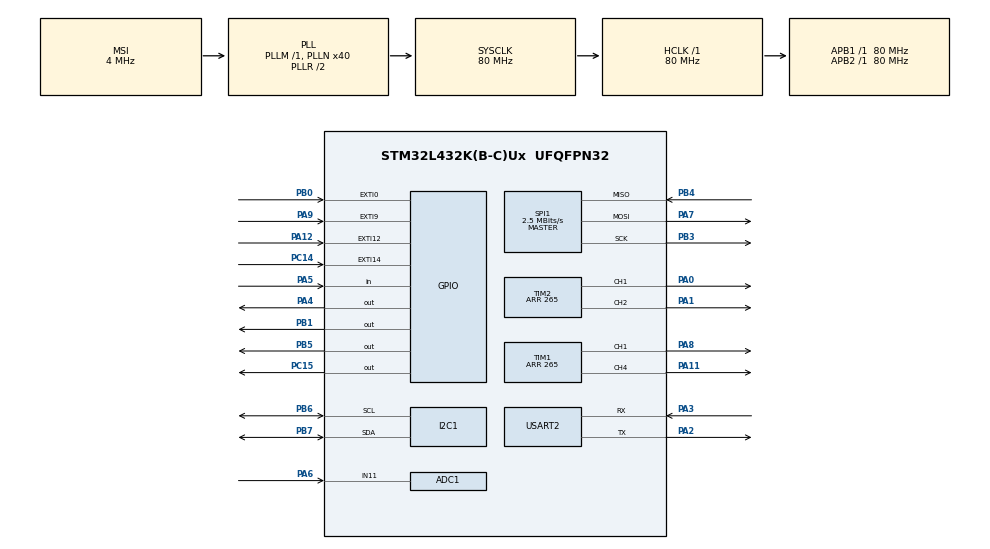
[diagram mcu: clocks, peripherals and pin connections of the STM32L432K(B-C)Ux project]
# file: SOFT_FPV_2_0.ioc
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ADC1.Channel-0\#ChannelRegularConversion=ADC_CHANNEL_11
ADC1.NbrOfConversionFlag=1
ADC1.OffsetNumber-0\#ChannelRegularConversion=ADC_OFFSET_NONE
ADC1.Rank-0\#ChannelRegularConversion=1
ADC1.SamplingTime-0\#ChannelRegularConversion=ADC_SAMPLETIME_2CYCLES_5
ADC1.master=1
Dma.I2C1_RX.5.Direction=DMA_PERIPH_TO_MEMORY
Dma.I2C1_RX.5.Instance=DMA2_Channel6
Dma.I2C1_RX.5.MemDataAlignment=DMA_MDATAALIGN_BYTE
Dma.I2C1_RX.5.MemInc=DMA_MINC_ENABLE
Dma.I2C1_RX.5.Mode=DMA_NORMAL
Dma.I2C1_RX.5.PeriphDataAlignment=DMA_PDATAALIGN_BYTE
Dma.I2C1_RX.5.PeriphInc=DMA_PINC_DISABLE
Dma.I2C1_RX.5.Priority=DMA_PRIORITY_HIGH
Dma.Request0=USART2_RX
Dma.Request1=TIM2_CH2/CH4
Dma.Request2=TIM2_CH1
Dma.Request3=TIM1_CH1
Dma.Request4=TIM1_CH4/TRIG/COM
Dma.Request5=I2C1_RX
Dma.TIM1_CH1.3.Direction=DMA_MEMORY_TO_PERIPH
Dma.TIM1_CH1.3.Instance=DMA1_Channel2
Dma.TIM1_CH1.3.MemDataAlignment=DMA_MDATAALIGN_HALFWORD
Dma.TIM1_CH1.3.MemInc=DMA_MINC_ENABLE
Dma.TIM1_CH1.3.Mode=DMA_NORMAL
Dma.TIM1_CH1.3.PeriphDataAlignment=DMA_PDATAALIGN_HALFWORD
Dma.TIM1_CH1.3.PeriphInc=DMA_PINC_DISABLE
Dma.TIM1_CH1.3.Priority=DMA_PRIORITY_LOW
Dma.TIM1_CH4/TRIG/COM.4.Direction=DMA_MEMORY_TO_PERIPH
Dma.TIM1_CH4/TRIG/COM.4.Instance=DMA1_Channel4
Dma.TIM1_CH4/TRIG/COM.4.MemDataAlignment=DMA_MDATAALIGN_WORD
Dma.TIM1_CH4/TRIG/COM.4.MemInc=DMA_MINC_ENABLE
Dma.TIM1_CH4/TRIG/COM.4.Mode=DMA_NORMAL
Dma.TIM1_CH4/TRIG/COM.4.PeriphDataAlignment=DMA_PDATAALIGN_WORD
Dma.TIM1_CH4/TRIG/COM.4.PeriphInc=DMA_PINC_DISABLE
Dma.TIM1_CH4/TRIG/COM.4.Priority=DMA_PRIORITY_LOW
Dma.TIM2_CH1.2.Direction=DMA_MEMORY_TO_PERIPH
Dma.TIM2_CH1.2.Instance=DMA1_Channel5
Dma.TIM2_CH1.2.MemDataAlignment=DMA_MDATAALIGN_HALFWORD
Dma.TIM2_CH1.2.MemInc=DMA_MINC_ENABLE
Dma.TIM2_CH1.2.Mode=DMA_NORMAL
Dma.TIM2_CH1.2.PeriphDataAlignment=DMA_PDATAALIGN_HALFWORD
Dma.TIM2_CH1.2.PeriphInc=DMA_PINC_DISABLE
Dma.TIM2_CH1.2.Priority=DMA_PRIORITY_LOW
Dma.TIM2_CH2/CH4.1.Direction=DMA_MEMORY_TO_PERIPH
Dma.TIM2_CH2/CH4.1.Instance=DMA1_Channel7
Dma.TIM2_CH2/CH4.1.MemDataAlignment=DMA_MDATAALIGN_WORD
Dma.TIM2_CH2/CH4.1.MemInc=DMA_MINC_ENABLE
Dma.TIM2_CH2/CH4.1.Mode=DMA_NORMAL
Dma.TIM2_CH2/CH4.1.PeriphDataAlignment=DMA_PDATAALIGN_WORD
Dma.TIM2_CH2/CH4.1.PeriphInc=DMA_PINC_DISABLE
Dma.TIM2_CH2/CH4.1.Priority=DMA_PRIORITY_LOW
Dma.USART2_RX.0.Direction=DMA_PERIPH_TO_MEMORY
Dma.USART2_RX.0.Instance=DMA1_Channel6
Dma.USART2_RX.0.MemDataAlignment=DMA_MDATAALIGN_BYTE
Dma.USART2_RX.0.MemInc=DMA_MINC_ENABLE
Dma.USART2_RX.0.Mode=DMA_CIRCULAR
Dma.USART2_RX.0.PeriphDataAlignment=DMA_PDATAALIGN_HALFWORD
Dma.USART2_RX.0.PeriphInc=DMA_PINC_DISABLE
Dma.USART2_RX.0.Priority=DMA_PRIORITY_LOW
I2C1.I2C_Coeff_DF=8
I2C1.Timing=0x10D098E0
Mcu.Family=STM32L4
Mcu.Name=STM32L432K(B-C)Ux
Mcu.Package=UFQFPN32
NVIC.DMA1_Channel2_IRQn=true\:0\:0\:false\:false\:true\:false\:true\:true
NVIC.DMA1_Channel4_IRQn=true\:0\:0\:false\:false\:true\:false\:true\:true
NVIC.DMA1_Channel5_IRQn=true\:0\:0\:false\:false\:true\:false\:true\:true
NVIC.DMA1_Channel6_IRQn=true\:0\:0\:false\:false\:true\:false\:true\:true
NVIC.DMA1_Channel7_IRQn=true\:0\:0\:false\:false\:true\:false\:true\:true
NVIC.DMA2_Channel6_IRQn=true\:0\:0\:false\:false\:true\:false\:true\:true
NVIC.EXTI0_IRQn=true\:2\:0\:true\:false\:true\:true\:true\:true
NVIC.I2C1_ER_IRQn=true\:0\:0\:false\:false\:true\:true\:true\:true
NVIC.I2C1_EV_IRQn=true\:0\:0\:false\:false\:true\:true\:true\:true
NVIC.PVD_PVM_IRQn=true\:0\:0\:false\:false\:true\:true\:true\:true
NVIC.PriorityGroup=NVIC_PRIORITYGROUP_4
NVIC.RCC_IRQn=true\:2\:0\:true\:false\:true\:true\:false\:true
NVIC.TIM1_BRK_TIM15_IRQn=true\:15\:0\:true\:false\:true\:true\:true\:true
PA0.GPIO_Speed=GPIO_SPEED_FREQ_VERY_HIGH
PA0.Signal=S_TIM2_CH1
PA1.GPIO_Speed=GPIO_SPEED_FREQ_VERY_HIGH
PA1.Signal=S_TIM2_CH2
PA11.GPIO_Speed=GPIO_SPEED_FREQ_VERY_HIGH
PA11.Signal=S_TIM1_CH4
PA12.Signal=GPXTI12
PA13\ (JTMS-SWDIO).Mode=Serial_Wire
PA13\ (JTMS-SWDIO).Signal=SYS_JTMS-SWDIO
PA14\ (JTCK-SWCLK).Mode=Serial_Wire
PA14\ (JTCK-SWCLK).Signal=SYS_JTCK-SWCLK
PA2.Mode=Asynchronous
PA2.Signal=USART2_TX
PA3.Mode=Asynchronous
PA3.Signal=USART2_RX
PA4.GPIO_Speed=GPIO_SPEED_FREQ_VERY_HIGH
PA4.PinState=GPIO_PIN_SET
PA4.Signal=GPIO_Output
PA5.Signal=GPIO_Input
PA6.Signal=ADCx_IN11
PA7.Mode=Full_Duplex_Master
PA7.Signal=SPI1_MOSI
PA8.GPIO_Speed=GPIO_SPEED_FREQ_VERY_HIGH
PA8.Signal=S_TIM1_CH1
PA9.Signal=GPXTI9
PB0.Signal=GPXTI0
PB1.Signal=GPIO_Output
PB3\ (JTDO-TRACESWO).Mode=Full_Duplex_Master
PB3\ (JTDO-TRACESWO).Signal=SPI1_SCK
PB4\ (NJTRST).Mode=Full_Duplex_Master
PB4\ (NJTRST).Signal=SPI1_MISO
PB5.PinState=GPIO_PIN_SET
PB5.Signal=GPIO_Output
PB6.GPIO_Pu=GPIO_PULLUP
PB6.Mode=I2C
PB6.Signal=I2C1_SCL
PB7.GPIO_Pu=GPIO_PULLUP
PB7.Mode=I2C
PB7.Signal=I2C1_SDA
PC14-OSC32_IN\ (PC14).Signal=GPXTI14
PC15-OSC32_OUT\ (PC15).PinState=GPIO_PIN_SET
PC15-OSC32_OUT\ (PC15).Signal=GPIO_Output
ProjectManager.HeapSize=0x200
ProjectManager.StackSize=0x400
ProjectManager.TargetToolchain=STM32CubeIDE
RCC.ADCFreq_Value=32000000
RCC.AHBFreq_Value=80000000
RCC.APB1Freq_Value=80000000
RCC.APB1TimFreq_Value=80000000
RCC.APB2Freq_Value=80000000
RCC.APB2TimFreq_Value=80000000
RCC.CortexFreq_Value=80000000
RCC.HCLKFreq_Value=80000000
RCC.HSE_VALUE=8000000
RCC.HSI48_VALUE=48000000
RCC.HSI_VALUE=16000000
RCC.LSE_VALUE=32768
RCC.MSI_VALUE=4000000
RCC.PLLN=40
RCC.PLLSAI1N=16
RCC.SYSCLKFreq_VALUE=80000000
RCC.SYSCLKSource=RCC_SYSCLKSOURCE_PLLCLK
RCC.USBFreq_Value=32000000
RCC.VCOOutputFreq_Value=160000000
SH.ADCx_IN11.0=ADC1_IN11,IN11-Single-Ended
SH.S_TIM1_CH1.0=TIM1_CH1,PWM Generation1 CH1
SH.S_TIM1_CH4.0=TIM1_CH4,PWM Generation4 CH4
SH.S_TIM2_CH1.0=TIM2_CH1,PWM Generation1 CH1
SH.S_TIM2_CH2.0=TIM2_CH2,PWM Generation2 CH2
SPI1.BaudRatePrescaler=SPI_BAUDRATEPRESCALER_32
SPI1.CalculateBaudRate=2.5 MBits/s
SPI1.DataSize=SPI_DATASIZE_8BIT
SPI1.Direction=SPI_DIRECTION_2LINES
SPI1.Mode=SPI_MODE_MASTER
SPI1.VirtualType=VM_MASTER
TIM1.AutoReloadPreload=TIM_AUTORELOAD_PRELOAD_ENABLE
TIM1.Channel-PWM\ Generation1\ CH1=TIM_CHANNEL_1
TIM1.Channel-PWM\ Generation4\ CH4=TIM_CHANNEL_4
TIM1.Period=265
TIM2.AutoReloadPreload=TIM_AUTORELOAD_PRELOAD_ENABLE
TIM2.Channel-PWM\ Generation1\ CH1=TIM_CHANNEL_1
TIM2.Channel-PWM\ Generation2\ CH2=TIM_CHANNEL_2
TIM2.Period=265
USART2.VirtualMode-Asynchronous=VM_ASYNC
VP_TIM1_VS_ClockSourceINT.Mode=Internal
VP_TIM2_VS_ClockSourceINT.Mode=Internal
VP_TIM6_VS_ClockSourceINT.Mode=Enable_Timer
board=custom

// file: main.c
/* USER CODE BEGIN Header */
/**
  ******************************************************************************
  * @file           : main.c
  * @brief          : Main program body
  ******************************************************************************
  */
/* USER CODE END Header */
#include "main.h"
#include "adc.h"
#include "dma.h"
#include "i2c.h"
#include "spi.h"
#include "tim.h"
#include "usart.h"
#include "gpio.h"

/* USER CODE BEGIN Includes */
#include "FCS.h"
#include <string.h>
#include "lora.h"
#include "sensors.h"
#include "fcs_app.h"
#include "vbat.h"
/* USER CODE END Includes */

/* USER CODE BEGIN PV */
volatile uint8_t dbg_rx_frame[16] = {0};
volatile uint8_t dbg_raw_len = 0;
volatile uint8_t dbg_pkt_crc = 0;
volatile uint8_t dbg_calc_crc = 0;
volatile uint8_t flag_process_5ms = 0;
volatile uint32_t counter = 0;
volatile uint8_t lora_frame_ready = 0;
volatile uint8_t lora_hardware_ok = 0;
volatile uint32_t diag_i2c_error = 0;
volatile uint8_t diag_init_result = 0;
volatile uint8_t diag_scanner_found[5] = {0};
volatile uint8_t diag_scanner_count = 0;
LoRa_ControlPacket_t rx_packet;
uint16_t value = 0;			            // throttle value to be sent
uint16_t ctr = 0;						// arming sequence counter
uint8_t trottle_down=0;					// dunnot change trottle up.
uint8_t armed = 0;
uint32_t motor[DSHOT_FRAME_SIZE];		// duty cycles array
static uint8_t bme_divider = 20;
static uint16_t motor1[DSHOT_FRAME_SIZE]; // TIM1 - 16BIT
static uint16_t motor2[DSHOT_FRAME_SIZE];
static uint32_t motor3[DSHOT_FRAME_SIZE]; //TIM2 - 32BIT
static uint32_t motor4[DSHOT_FRAME_SIZE];

/* USER CODE END PV */

void SystemClock_Config(void);
/* USER CODE BEGIN PFP */
void dshot_encode_16(uint16_t *buf, uint16_t val);
void dshot_encode_32(uint32_t *buf, uint16_t val);
void send_dshot_motors(uint16_t m1, uint16_t m2, uint16_t m3, uint16_t m4);
/* USER CODE END PFP */

/* USER CODE BEGIN 0 */
/*static uint16_t dshot_prepare_packet(uint16_t value) {
    uint16_t packet = (value << 5); // telemetria = 0
    uint16_t csum = 0;
    uint16_t csum_data = packet;
    for (int i = 0; i < 3; i++) {
        csum ^= csum_data;
        csum_data >>= 4;
    }
    csum &= 0x0F;
    return (packet | csum);
}*/
static uint16_t dshot_prepare_packet(uint16_t value) {
    // 1. Zabezpieczenie zakresu DShot (0..2047)
    if (value > 2047) {
        value = 2047;
    }

    // 2. Przygotuj 12 bitów danych: 11 bitów wartości + 1 bit telemetrii (0)
    uint16_t packet = (value << 1);

    // 3. Oblicz CRC: XOR trzech 4-bitowych bloków (nibbli)
    uint16_t csum = (packet ^ (packet >> 4) ^ (packet >> 8)) & 0x0F;

    // 4. Przesuń dane na bity 15..4 i wstaw sumę kontrolną na bity 3..0
    return (packet << 4) | csum;
}
// Wypełnianie bufora 16-bitowego (dla TIM1)
static void dshot_fill_buffer_16(uint16_t *buf, uint16_t packet) {
    for (int i = 0; i < 16; i++) {
        buf[i] = (packet & (0x8000 >> i)) ? DSHOT_BIT_1 : DSHOT_BIT_0;
    }
    for (int i = 16; i < DSHOT_FRAME_SIZE; i++) {
            buf[i] = 0;
        }
}

// Wypełnianie bufora 32-bitowego (dla TIM2)
static void dshot_fill_buffer_32(uint32_t *buf, uint16_t packet) {
    for (int i = 0; i < 16; i++) {
        buf[i] = (packet & (0x8000 >> i)) ? DSHOT_BIT_1 : DSHOT_BIT_0;
    }
    for (int i = 16; i < DSHOT_FRAME_SIZE; i++) {
            buf[i] = 0;
        }
}

volatile uint16_t dbg_dshot_m1 = 0;
volatile uint16_t dbg_dshot_m2 = 0;
volatile uint16_t dbg_dshot_m3 = 0;
volatile uint16_t dbg_dshot_m4 = 0;

// Wysyłka ramek przez DMA
void dshot_write(uint16_t m1, uint16_t m2, uint16_t m3, uint16_t m4) {
		dbg_dshot_m1 = m1;
	    dbg_dshot_m2 = m2;
	    dbg_dshot_m3 = m3;
	    dbg_dshot_m4 = m4;

    dshot_fill_buffer_16(motor1, dshot_prepare_packet(m1));
    dshot_fill_buffer_16(motor2, dshot_prepare_packet(m2));
    dshot_fill_buffer_32(motor3, dshot_prepare_packet(m3));
    dshot_fill_buffer_32(motor4, dshot_prepare_packet(m4));

    // Motor 1 & 2 -> TIM1
    HAL_TIM_PWM_Start_DMA(&htim1, TIM_CHANNEL_1, (uint32_t*)motor1, DSHOT_FRAME_SIZE);
    HAL_TIM_PWM_Start_DMA(&htim1, TIM_CHANNEL_4, (uint32_t*)motor2, DSHOT_FRAME_SIZE);
    // Motor 3 & 4 -> TIM2
    HAL_TIM_PWM_Start_DMA(&htim2, TIM_CHANNEL_1, (uint32_t*)motor3, DSHOT_FRAME_SIZE);
    HAL_TIM_PWM_Start_DMA(&htim2, TIM_CHANNEL_2, (uint32_t*)motor4, DSHOT_FRAME_SIZE);
}

// Inicjalizacja i uzbrojenie ESC (Bluejay wymaga serii zer)
void dshot_init(void) {
	__HAL_TIM_MOE_ENABLE(&htim1);

	for (int i = 0; i < 1500; i++) {
        dshot_write(0, 0, 0, 0);
        HAL_Delay(2); // Ramki zerowe wysyłane co 1 ms przez 1 sekundę
    }
}
/* USER CODE END 0 */

int main(void)
{

  /* MCU Configuration--------------------------------------------------------*/

  /* Reset of all peripherals, Initializes the Flash interface and the Systick. */
    HAL_Init();

  /* Configure the system clock */
  SystemClock_Config();

  /* Initialize all configured peripherals */
  MX_GPIO_Init();
  MX_DMA_Init();
  MX_ADC1_Init();
  MX_I2C1_Init();
  MX_SPI1_Init();
  MX_TIM1_Init();
  MX_TIM2_Init();
  MX_TIM6_Init();
  MX_USART2_UART_Init();
  /* USER CODE BEGIN 2 */
  //VBAT_Init(&hadc1);

  if (Sensors_Init(&hi2c1) != 0) {
        // Błąd komunikacji z czujnikami (opcjonalnie: dioda LED / pętla błędu)
    }
    // 2. Inicjalizacja modułu radiowego LoRa SX1278 po SPI
  if (LoRa_Init() == 1) {
        lora_hardware_ok = 1;
    } else {
        lora_hardware_ok = 0; // W razie błędu SPI dron pozostanie w bezpiecznym FAILSAFE
    }
  dshot_init();

  HAL_TIM_Base_Start_IT(&htim6);
  /* USER CODE END 2 */

  /* Infinite loop */
  /* USER CODE BEGIN WHILE */
    while (1)
    {
            if (lora_hardware_ok)
            {
                LoRa_Process(&rx_packet);
            }
            //Pętla dynamiki i sterowania (200 Hz / 5 ms)
            if (flag_process_5ms)
            {
            	flag_process_5ms = 0;
            	Sensors_TriggerMPU_DMA(&hi2c1);
            	    if (++bme_divider >= 20)
            	    {
            	        bme_divider = 0;
            	        Sensors_TriggerBME_DMA(&hi2c1);
            	        //VBAT_Update(&hadc1);
            	    }

            	    //dshot_write(100, 100, 100, 100);
            	    FCS_APP_Task();
            	     App_StateMachine();
            }
    }
    /* USER CODE END WHILE */

}

void SystemClock_Config(void)
{
  RCC_OscInitTypeDef RCC_OscInitStruct = {0};
  RCC_ClkInitTypeDef RCC_ClkInitStruct = {0};

  /** Configure the main internal regulator output voltage
  */
  if (HAL_PWREx_ControlVoltageScaling(PWR_REGULATOR_VOLTAGE_SCALE1) != HAL_OK)
  {
    Error_Handler();
  }

  /** Initializes the RCC Oscillators according to the specified parameters
  * in the RCC_OscInitTypeDef structure.
  */
  RCC_OscInitStruct.OscillatorType = RCC_OSCILLATORTYPE_MSI;
  RCC_OscInitStruct.MSIState = RCC_MSI_ON;
  RCC_OscInitStruct.MSICalibrationValue = 0;
  RCC_OscInitStruct.MSIClockRange = RCC_MSIRANGE_6;
  RCC_OscInitStruct.PLL.PLLState = RCC_PLL_ON;
  RCC_OscInitStruct.PLL.PLLSource = RCC_PLLSOURCE_MSI;
  RCC_OscInitStruct.PLL.PLLM = 1;
  RCC_OscInitStruct.PLL.PLLN = 40;
  RCC_OscInitStruct.PLL.PLLP = RCC_PLLP_DIV7;
  RCC_OscInitStruct.PLL.PLLQ = RCC_PLLQ_DIV2;
  RCC_OscInitStruct.PLL.PLLR = RCC_PLLR_DIV2;
  if (HAL_RCC_OscConfig(&RCC_OscInitStruct) != HAL_OK)
  {
    Error_Handler();
  }

  /** Initializes the CPU, AHB and APB buses clocks
  */
  RCC_ClkInitStruct.ClockType = RCC_CLOCKTYPE_HCLK|RCC_CLOCKTYPE_SYSCLK
                              |RCC_CLOCKTYPE_PCLK1|RCC_CLOCKTYPE_PCLK2;
  RCC_ClkInitStruct.SYSCLKSource = RCC_SYSCLKSOURCE_PLLCLK;
  RCC_ClkInitStruct.AHBCLKDivider = RCC_SYSCLK_DIV1;
  RCC_ClkInitStruct.APB1CLKDivider = RCC_HCLK_DIV1;
  RCC_ClkInitStruct.APB2CLKDivider = RCC_HCLK_DIV1;

  if (HAL_RCC_ClockConfig(&RCC_ClkInitStruct, FLASH_LATENCY_4) != HAL_OK)
  {
    Error_Handler();
  }
}

/* USER CODE BEGIN 4 */
void HAL_TIM_PeriodElapsedCallback(TIM_HandleTypeDef *htim)
{
    if (htim->Instance == TIM6)
    {
        // uint8_t tick_count = 0;

        // if (++tick_count >= 3)
        //{
        //  tick_count = 0;
            flag_process_5ms = 1;
        //}
    }
}
/*void HAL_TIM_PWM_PulseFinishedCallback(TIM_HandleTypeDef *htim) {
    UNUSED(htim);
}*/
/* USER CODE END 4 */

void Error_Handler(void)
{
  __disable_irq();
  while (1)
  {
  }
}
